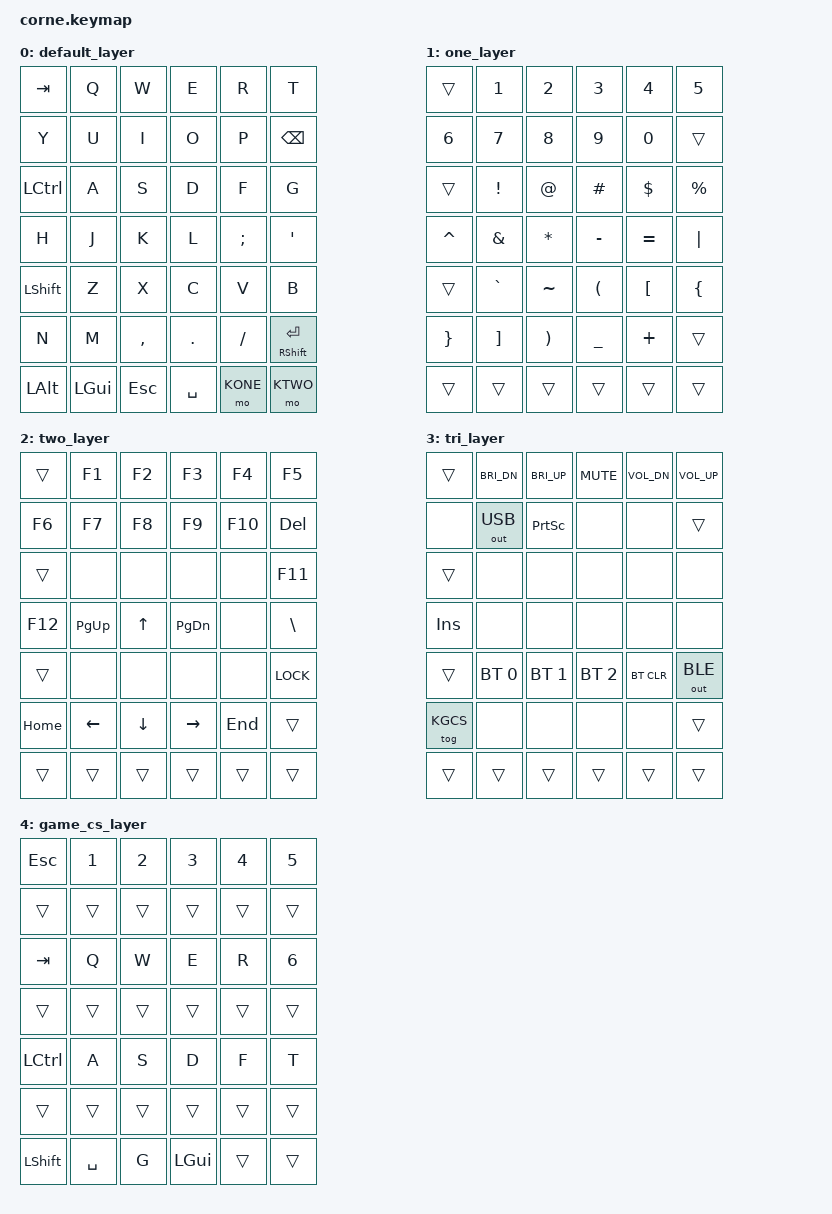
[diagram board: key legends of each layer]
// Copyright (c) 2020 The ZMK Contributors
// SPDX-License-Identifier: MIT
// modified by github.com/blobject <agaric@pm.me>

#include <behaviors.dtsi>
#include <dt-bindings/zmk/bt.h>
#include <dt-bindings/zmk/keys.h>
#include <dt-bindings/zmk/outputs.h>

#define KDEF 0
#define KONE 1
#define KTWO 2
#define KTRI 3
#define KGCS 4

/ {
  behaviors {
    ht: hold_tap {
      compatible = "zmk,behavior-hold-tap";
      label = "HOLD_TAP";
      #binding-cells = <2>;
      flavor = "hold-preferred";
      tapping-term-ms = <200>;
      quick-tap-ms = <300>;
      bindings = <&kp>, <&kp>;
    };
  };
  conditional_layers {
    compatible = "zmk,conditional-layers";
    tri_layer {
      if-layers = <KONE KTWO>;
      then-layer = <KTRI>;
    };
  };
  keymap {
    compatible = "zmk,keymap";
    default_layer {
      bindings = <
/* L1 */ &kp TAB   &kp Q     &kp W     &kp E     &kp R     &kp T
/* R1 */ &kp Y     &kp U     &kp I     &kp O     &kp P     &kp BSPC

/* L2 */ &kp LCTRL &kp A     &kp S     &kp D     &kp F     &kp G
/* R2 */ &kp H     &kp J     &kp K     &kp L     &kp SEMI  &kp SQT

/* L3 */ &kp LSHFT &kp Z     &kp X     &kp C     &kp V     &kp B
/* R3 */ &kp N     &kp M     &kp COMMA &kp DOT   &kp FSLH  &ht RSHFT RET

/* TH */ &kp LALT  &kp LGUI  &kp ESC   &kp SPACE &mo KONE  &mo KTWO
      >;
    };
    one_layer {
      bindings = <
&trans       &kp N1       &kp N2       &kp N3       &kp N4       &kp N5
&kp N6       &kp N7       &kp N8       &kp N9       &kp N0       &trans

&trans       &kp EXCL     &kp AT       &kp HASH     &kp DLLR     &kp PRCNT
&kp CARET    &kp AMPS     &kp STAR     &kp MINUS    &kp EQUAL    &kp PIPE

&trans       &kp GRAVE    &kp TILDE    &kp LPAR     &kp LBKT     &kp LBRC
&kp RBRC     &kp RBKT     &kp RPAR     &kp UNDER    &kp PLUS     &trans

&trans       &trans       &trans       &trans       &trans       &trans
      >;
    };
    two_layer {
/* mouse keys still in beta so not applied here */
      bindings = <
&trans       &kp F1       &kp F2       &kp F3       &kp F4       &kp F5
&kp F6       &kp F7       &kp F8       &kp F9       &kp F10      &kp DEL

&trans       &none        &none        &none        &none        &kp F11
&kp F12      &kp PG_UP    &kp UP       &kp PG_DN    &none        &kp BSLH

&trans       &none        &none        &none        &none        &kp K_LOCK
&kp HOME     &kp LEFT     &kp DOWN     &kp RIGHT    &kp END      &trans

&trans       &trans       &trans       &trans       &trans       &trans
      >;
    };
    tri_layer {
      bindings = <
&trans       &kp C_BRI_DN &kp C_BRI_UP &kp C_MUTE   &kp C_VOL_DN &kp C_VOL_UP
&none        &out OUT_USB &kp PSCRN    &none        &none        &trans

&trans       &none        &none        &none        &none        &none
&kp INS      &none        &none        &none        &none        &none

&trans       &bt BT_SEL 0 &bt BT_SEL 1 &bt BT_SEL 2 &bt BT_CLR   &out OUT_BLE
&tog KGCS    &none        &none        &none        &none        &trans

&trans       &trans       &trans       &trans       &trans       &trans
      >;
    };
    game_cs_layer {
      bindings = <
&kp ESC      &kp N1       &kp N2       &kp N3       &kp N4       &kp N5
&trans       &trans       &trans       &trans       &trans       &trans

&kp TAB      &kp Q        &kp W        &kp E        &kp R        &kp N6
&trans       &trans       &trans       &trans       &trans       &trans

&kp LCTRL    &kp A        &kp S        &kp D        &kp F        &kp T
&trans       &trans       &trans       &trans       &trans       &trans

&kp LSHFT    &kp SPACE    &kp G        &kp LGUI     &trans       &trans
      >;
    };
  };
};
